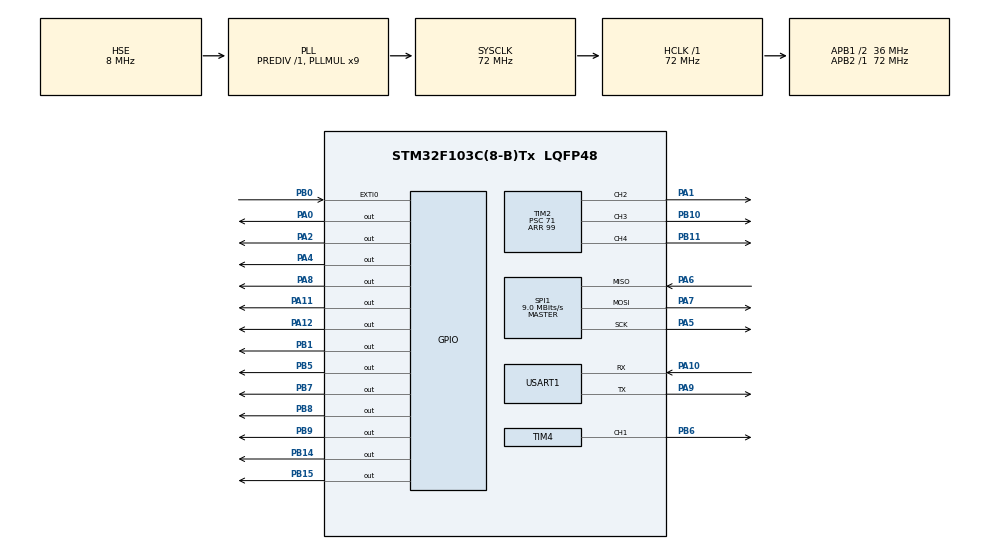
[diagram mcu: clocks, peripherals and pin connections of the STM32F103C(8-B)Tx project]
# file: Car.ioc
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Mcu.Family=STM32F1
Mcu.Name=STM32F103C(8-B)Tx
Mcu.Package=LQFP48
NVIC.EXTI0_IRQn=true\:0\:0\:false\:false\:true\:true\:true\:true
NVIC.PriorityGroup=NVIC_PRIORITYGROUP_4
PA0-WKUP.Signal=GPIO_Output
PA1.Signal=S_TIM2_CH2
PA10.Mode=Asynchronous
PA10.Signal=USART1_RX
PA11.Signal=GPIO_Output
PA12.Signal=GPIO_Output
PA13.Mode=Serial_Wire
PA13.Signal=SYS_JTMS-SWDIO
PA14.Mode=Serial_Wire
PA14.Signal=SYS_JTCK-SWCLK
PA2.Signal=GPIO_Output
PA4.PinState=GPIO_PIN_SET
PA4.Signal=GPIO_Output
PA5.Mode=Full_Duplex_Master
PA5.Signal=SPI1_SCK
PA6.Mode=Full_Duplex_Master
PA6.Signal=SPI1_MISO
PA7.Mode=Full_Duplex_Master
PA7.Signal=SPI1_MOSI
PA8.Signal=GPIO_Output
PA9.Mode=Asynchronous
PA9.Signal=USART1_TX
PB0.Signal=GPXTI0
PB1.PinState=GPIO_PIN_SET
PB1.Signal=GPIO_Output
PB10.Signal=S_TIM2_CH3
PB11.Signal=S_TIM2_CH4
PB14.Signal=GPIO_Output
PB15.Signal=GPIO_Output
PB5.Signal=GPIO_Output
PB6.Signal=S_TIM4_CH1
PB7.Signal=GPIO_Output
PB8.Signal=GPIO_Output
PB9.Signal=GPIO_Output
PC14-OSC32_IN.Mode=LSE-External-Oscillator
PC14-OSC32_IN.Signal=RCC_OSC32_IN
PC15-OSC32_OUT.Mode=LSE-External-Oscillator
PC15-OSC32_OUT.Signal=RCC_OSC32_OUT
PD0-OSC_IN.Mode=HSE-External-Oscillator
PD0-OSC_IN.Signal=RCC_OSC_IN
PD1-OSC_OUT.Mode=HSE-External-Oscillator
PD1-OSC_OUT.Signal=RCC_OSC_OUT
ProjectManager.HeapSize=0x200
ProjectManager.StackSize=0x400
ProjectManager.TargetToolchain=STM32CubeIDE
RCC.AHBFreq_Value=72000000
RCC.APB1CLKDivider=RCC_HCLK_DIV2
RCC.APB1Freq_Value=36000000
RCC.APB1TimFreq_Value=72000000
RCC.APB2Freq_Value=72000000
RCC.APB2TimFreq_Value=72000000
RCC.HCLKFreq_Value=72000000
RCC.PLLMUL=RCC_PLL_MUL9
RCC.PLLSourceVirtual=RCC_PLLSOURCE_HSE
RCC.SYSCLKFreq_VALUE=72000000
RCC.SYSCLKSource=RCC_SYSCLKSOURCE_PLLCLK
RCC.USBFreq_Value=72000000
SH.S_TIM2_CH2.0=TIM2_CH2,PWM Generation2 CH2
SH.S_TIM2_CH3.0=TIM2_CH3,PWM Generation3 CH3
SH.S_TIM2_CH4.0=TIM2_CH4,PWM Generation4 CH4
SH.S_TIM4_CH1.0=TIM4_CH1,PWM Generation1 CH1
SPI1.BaudRatePrescaler=SPI_BAUDRATEPRESCALER_8
SPI1.CalculateBaudRate=9.0 MBits/s
SPI1.Direction=SPI_DIRECTION_2LINES
SPI1.Mode=SPI_MODE_MASTER
SPI1.VirtualType=VM_MASTER
TIM2.AutoReloadPreload=TIM_AUTORELOAD_PRELOAD_ENABLE
TIM2.Channel-PWM\ Generation2\ CH2=TIM_CHANNEL_2
TIM2.Channel-PWM\ Generation3\ CH3=TIM_CHANNEL_3
TIM2.Channel-PWM\ Generation4\ CH4=TIM_CHANNEL_4
TIM2.OCMode_PWM-PWM\ Generation4\ CH4=TIM_OCMODE_PWM1
TIM2.Period=99
TIM2.Prescaler=71
TIM4.AutoReloadPreload=TIM_AUTORELOAD_PRELOAD_ENABLE
TIM4.Channel-PWM\ Generation1\ CH1=TIM_CHANNEL_1
TIM4.Period=99
TIM4.Prescaler=71
USART1.VirtualMode=VM_ASYNC
board=custom

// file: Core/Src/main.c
/* USER CODE BEGIN Header */
/**
  ******************************************************************************
  * @file           : main.c
  * @brief          : Main program body
  ******************************************************************************
  * @attention
  *
  * Copyright (c) 2025 STMicroelectronics.
  * All rights reserved.
  *
  * This software is licensed under terms that can be found in the LICENSE file
  * in the root directory of this software component.
  * If no LICENSE file comes with this software, it is provided AS-IS.
  *
  ******************************************************************************
  */
/* USER CODE END Header */
#include "main.h"

/* USER CODE BEGIN Includes */
#include "Lora.h"
/* USER CODE END Includes */

SPI_HandleTypeDef hspi1;

TIM_HandleTypeDef htim2;
TIM_HandleTypeDef htim4;

UART_HandleTypeDef huart1;

/* USER CODE BEGIN PV */
LoRa myLoRa;
uint8_t LoRa_stat = 0;
uint8_t received_data[50] = {0};
uint8_t len = 50;
volatile uint8_t lora_irq_flag = 0;
/* USER CODE END PV */

void SystemClock_Config(void);
static void MX_GPIO_Init(void);
static void MX_TIM2_Init(void);
static void MX_TIM4_Init(void);
static void MX_SPI1_Init(void);
static void MX_USART1_UART_Init(void);

/* USER CODE BEGIN 0 */

#define PWM_MAX     99

int _write(int file, char *ptr, int len)
{
    HAL_UART_Transmit(&huart1, (uint8_t*)ptr, len, HAL_MAX_DELAY);
    return len;
}

void set_motor(int16_t speed,
               TIM_HandleTypeDef *htim, uint32_t channel,
               GPIO_TypeDef *dir_port1, uint16_t dir_pin1,
               GPIO_TypeDef *dir_port2, uint16_t dir_pin2)
{
    if (speed >= 0)
    {
        HAL_GPIO_WritePin(dir_port1, dir_pin1, GPIO_PIN_RESET);
        HAL_GPIO_WritePin(dir_port2, dir_pin2, GPIO_PIN_SET);
    }
    else
    {
        speed = -speed;
        HAL_GPIO_WritePin(dir_port1, dir_pin1, GPIO_PIN_SET);
        HAL_GPIO_WritePin(dir_port2, dir_pin2, GPIO_PIN_RESET);
    }

    if (speed > PWM_MAX) speed = PWM_MAX;

    __HAL_TIM_SET_COMPARE(htim, channel, speed);
}

/* USER CODE END 0 */

int main(void)
{

  /* USER CODE BEGIN 1 */
	uint8_t lora_ok = 0;

	float roll = 0.0f;
	float pitch = 0.0f;
	int horn = 0;
  /* USER CODE END 1 */

  /* MCU Configuration--------------------------------------------------------*/

  /* Reset of all peripherals, Initializes the Flash interface and the Systick. */
  HAL_Init();

  /* Configure the system clock */
  SystemClock_Config();

  /* Initialize all configured peripherals */
  MX_GPIO_Init();
  MX_TIM2_Init();
  MX_TIM4_Init();
  MX_SPI1_Init();
  MX_USART1_UART_Init();
  /* USER CODE BEGIN 2 */
  	  	  	  	  // Start PWM channels
  HAL_TIM_PWM_Start(&htim2, TIM_CHANNEL_3);
  HAL_TIM_PWM_Start(&htim2, TIM_CHANNEL_4);
  HAL_TIM_PWM_Start(&htim2, TIM_CHANNEL_2);
  HAL_TIM_PWM_Start(&htim4, TIM_CHANNEL_1);

  	  	  	  	  	  // Direction setup (0,1 for each motor)
  HAL_GPIO_WritePin(GPIOB, GPIO_PIN_5, GPIO_PIN_RESET);
  HAL_GPIO_WritePin(GPIOB, GPIO_PIN_7, GPIO_PIN_SET);

  HAL_GPIO_WritePin(GPIOB, GPIO_PIN_14, GPIO_PIN_RESET);
  HAL_GPIO_WritePin(GPIOB, GPIO_PIN_15, GPIO_PIN_SET);

  HAL_GPIO_WritePin(GPIOB, GPIO_PIN_8, GPIO_PIN_RESET);
  HAL_GPIO_WritePin(GPIOB, GPIO_PIN_9, GPIO_PIN_SET);

  HAL_GPIO_WritePin(GPIOA, GPIO_PIN_0, GPIO_PIN_RESET);
  HAL_GPIO_WritePin(GPIOA, GPIO_PIN_2, GPIO_PIN_SET);

  myLoRa = newLoRa();

   myLoRa.CS_port         = GPIOA;
   myLoRa.CS_pin          = GPIO_PIN_4;
   myLoRa.reset_port      = GPIOB;
   myLoRa.reset_pin       = GPIO_PIN_1;
   myLoRa.DIO0_port       = GPIOB;
   myLoRa.DIO0_pin        = GPIO_PIN_0;
   myLoRa.hSPIx           = &hspi1;

   myLoRa.frequency             = 433;             // default = 433 MHz
   myLoRa.spredingFactor        = SF_7;            // default = SF_7
   myLoRa.bandWidth             = BW_125KHz;       // default = BW_125KHz
   myLoRa.crcRate               = CR_4_5;          // default = CR_4_5
   myLoRa.power                 = POWER_20db;      // default = 20db
   myLoRa.overCurrentProtection = 100;             // default = 100 mA
   myLoRa.preamble              = 8;              // default = 8;

   while (!lora_ok)
   {
       if (LoRa_init(&myLoRa) == LORA_OK)
       {
           lora_ok = 1;
           printf("LoRa initialized successfully\r\n");
       }
       else
       {
           printf("LoRa init failed, retrying...\r\n");
           HAL_Delay(500);
       }
   }
   LoRa_startReceiving(&myLoRa);
   printf("LoRa RX started\r\n");

 printf("Reseti hamar\n");
  /* USER CODE END 2 */

  /* Infinite loop */
  /* USER CODE BEGIN WHILE */
  while (1)
  {

	  if (lora_irq_flag)
	  {
	      lora_irq_flag = 0;
	      printf("Mtav lora_irq\r\n");
	      uint8_t bytes_read =
	          LoRa_receive(&myLoRa, received_data, sizeof(received_data));

	      if (bytes_read > 0)
	      {
	          received_data[bytes_read] = '\0';
	          printf("RX: %s\r\n", received_data);
	          int parsed = sscanf((char*)received_data,
	                              "R=%f,P=%f,H=%d",
	                              &roll, &pitch, &horn);

	          if (parsed != 3) {
	              printf("Invalid packet: %s\r\n", received_data);
	              LoRa_startReceiving(&myLoRa);
	              continue;
	          }
	      }

	      if (fabsf(roll)  < 5.0f) roll = 0.0f;
	      if (fabsf(pitch) < 5.0f) pitch = 0.0f;

	      LoRa_startReceiving(&myLoRa);
	  }

	  printf("roll: %.2f, pitch: %.2f, H: %d\r\n", roll, pitch, horn);

    /* USER CODE END WHILE */

    /* USER CODE BEGIN 3 */

		 int16_t m1 = 0;
		 int16_t m2 = 0;
		 int16_t m3 = 0;
		 int16_t m4 = 0;

	  if((roll < 40) && (roll > -40) && (pitch < 40) && (pitch > -40)){
		  m1 = 0;
		  m2 = 0;
		  m3 = 0;
		  m4 = 0;
	  }
	  else if((roll >= 40) && (roll > -40) && (pitch < 40) && (pitch > -40)){
		  m1 = -PWM_MAX;
		  m2 = -PWM_MAX;
		  m3 = -PWM_MAX;
		  m4 = -PWM_MAX;
	  }
	  else if((roll < 40) && (roll <= -40) && (pitch < 40) && (pitch > -40)){
		  m1 = PWM_MAX;
	  	  m2 = PWM_MAX;
	  	  m3 = PWM_MAX;
	  	  m4 = PWM_MAX;
	  }
	  else if((roll < 40) && (roll > -40) && (pitch >= 40) && (pitch > -40)){
		  m1 = -PWM_MAX;
	  	  m2 = PWM_MAX;
	  	  m3 = PWM_MAX;
	 	  m4 = -PWM_MAX;
	  }
	  else if((roll < 40) && (roll > -40) && (pitch < 40) && (pitch <= -40)){
	 	  m1 = PWM_MAX;
	  	  m2 = -PWM_MAX;
	  	  m3 = -PWM_MAX;
	  	  m4 = PWM_MAX;
	  }
	  else if((roll < 40) && (roll <= -40) && (pitch >= 40) && (pitch > -40)){
	  	  m1 = PWM_MAX - 15;
	  	  m2 = PWM_MAX;
	  	  m3 = PWM_MAX;
	  	  m4 = PWM_MAX - 15;
	  }
	  else if((roll < 40) && (roll <= -40) && (pitch < 40) && (pitch <= -40)){
	  	  m1 = PWM_MAX;
	 	  m2 = PWM_MAX - 15;
	   	  m3 = PWM_MAX - 15;
	   	  m4 = PWM_MAX;
	  }
	  else if((roll >= 40) && (roll > -40) && (pitch >= 40) && (pitch > -40)){
	 	  m1 = -PWM_MAX + 15;
		  m2 = -PWM_MAX;
	  	  m3 = -PWM_MAX;
	  	  m4 = -PWM_MAX + 15;
	  }
	  else if((roll >= 40) && (roll > -40) && (pitch < 40) && (pitch <= -40)){
		  m1 = -PWM_MAX;
	  	  m2 = -PWM_MAX + 15;
	   	  m3 = -PWM_MAX + 15;
	   	  m4 = -PWM_MAX;
	  }

	 //printf("m1: %d, m2: %d, m3: %d, m4: %d\r\n", m1, m2, m3, m4);

	  set_motor(m1, &htim2, TIM_CHANNEL_3, GPIOB, GPIO_PIN_5, GPIOB, GPIO_PIN_7);
	  set_motor(m2, &htim2, TIM_CHANNEL_4, GPIOB, GPIO_PIN_15, GPIOB, GPIO_PIN_14);
	  set_motor(m3, &htim4, TIM_CHANNEL_1, GPIOB, GPIO_PIN_8, GPIOB, GPIO_PIN_9);
	  set_motor(m4, &htim2, TIM_CHANNEL_2, GPIOA, GPIO_PIN_2, GPIOA, GPIO_PIN_0) ;

	  HAL_GPIO_WritePin(GPIOA, GPIO_PIN_8, !horn ? GPIO_PIN_SET : GPIO_PIN_RESET);

	HAL_Delay(1);

  }
  /* USER CODE END 3 */
}

void SystemClock_Config(void)
{
  RCC_OscInitTypeDef RCC_OscInitStruct = {0};
  RCC_ClkInitTypeDef RCC_ClkInitStruct = {0};

  /** Initializes the RCC Oscillators according to the specified parameters
  * in the RCC_OscInitTypeDef structure.
  */
  RCC_OscInitStruct.OscillatorType = RCC_OSCILLATORTYPE_HSE;
  RCC_OscInitStruct.HSEState = RCC_HSE_ON;
  RCC_OscInitStruct.HSEPredivValue = RCC_HSE_PREDIV_DIV1;
  RCC_OscInitStruct.HSIState = RCC_HSI_ON;
  RCC_OscInitStruct.PLL.PLLState = RCC_PLL_ON;
  RCC_OscInitStruct.PLL.PLLSource = RCC_PLLSOURCE_HSE;
  RCC_OscInitStruct.PLL.PLLMUL = RCC_PLL_MUL9;
  if (HAL_RCC_OscConfig(&RCC_OscInitStruct) != HAL_OK)
  {
    Error_Handler();
  }

  /** Initializes the CPU, AHB and APB buses clocks
  */
  RCC_ClkInitStruct.ClockType = RCC_CLOCKTYPE_HCLK|RCC_CLOCKTYPE_SYSCLK
                              |RCC_CLOCKTYPE_PCLK1|RCC_CLOCKTYPE_PCLK2;
  RCC_ClkInitStruct.SYSCLKSource = RCC_SYSCLKSOURCE_PLLCLK;
  RCC_ClkInitStruct.AHBCLKDivider = RCC_SYSCLK_DIV1;
  RCC_ClkInitStruct.APB1CLKDivider = RCC_HCLK_DIV2;
  RCC_ClkInitStruct.APB2CLKDivider = RCC_HCLK_DIV1;

  if (HAL_RCC_ClockConfig(&RCC_ClkInitStruct, FLASH_LATENCY_2) != HAL_OK)
  {
    Error_Handler();
  }
}

static void MX_SPI1_Init(void)
{

  /* SPI1 parameter configuration*/
  hspi1.Instance = SPI1;
  hspi1.Init.Mode = SPI_MODE_MASTER;
  hspi1.Init.Direction = SPI_DIRECTION_2LINES;
  hspi1.Init.DataSize = SPI_DATASIZE_8BIT;
  hspi1.Init.CLKPolarity = SPI_POLARITY_LOW;
  hspi1.Init.CLKPhase = SPI_PHASE_1EDGE;
  hspi1.Init.NSS = SPI_NSS_SOFT;
  hspi1.Init.BaudRatePrescaler = SPI_BAUDRATEPRESCALER_8;
  hspi1.Init.FirstBit = SPI_FIRSTBIT_MSB;
  hspi1.Init.TIMode = SPI_TIMODE_DISABLE;
  hspi1.Init.CRCCalculation = SPI_CRCCALCULATION_DISABLE;
  hspi1.Init.CRCPolynomial = 10;
  if (HAL_SPI_Init(&hspi1) != HAL_OK)
  {
    Error_Handler();
  }

}

static void MX_TIM2_Init(void)
{

  TIM_MasterConfigTypeDef sMasterConfig = {0};
  TIM_OC_InitTypeDef sConfigOC = {0};

  htim2.Instance = TIM2;
  htim2.Init.Prescaler = 71;
  htim2.Init.CounterMode = TIM_COUNTERMODE_UP;
  htim2.Init.Period = 99;
  htim2.Init.ClockDivision = TIM_CLOCKDIVISION_DIV1;
  htim2.Init.AutoReloadPreload = TIM_AUTORELOAD_PRELOAD_ENABLE;
  if (HAL_TIM_PWM_Init(&htim2) != HAL_OK)
  {
    Error_Handler();
  }
  sMasterConfig.MasterOutputTrigger = TIM_TRGO_RESET;
  sMasterConfig.MasterSlaveMode = TIM_MASTERSLAVEMODE_DISABLE;
  if (HAL_TIMEx_MasterConfigSynchronization(&htim2, &sMasterConfig) != HAL_OK)
  {
    Error_Handler();
  }
  sConfigOC.OCMode = TIM_OCMODE_PWM1;
  sConfigOC.Pulse = 0;
  sConfigOC.OCPolarity = TIM_OCPOLARITY_HIGH;
  sConfigOC.OCFastMode = TIM_OCFAST_DISABLE;
  if (HAL_TIM_PWM_ConfigChannel(&htim2, &sConfigOC, TIM_CHANNEL_2) != HAL_OK)
  {
    Error_Handler();
  }
  if (HAL_TIM_PWM_ConfigChannel(&htim2, &sConfigOC, TIM_CHANNEL_3) != HAL_OK)
  {
    Error_Handler();
  }
  if (HAL_TIM_PWM_ConfigChannel(&htim2, &sConfigOC, TIM_CHANNEL_4) != HAL_OK)
  {
    Error_Handler();
  }
  HAL_TIM_MspPostInit(&htim2);

}

static void MX_TIM4_Init(void)
{

  TIM_MasterConfigTypeDef sMasterConfig = {0};
  TIM_OC_InitTypeDef sConfigOC = {0};

  htim4.Instance = TIM4;
  htim4.Init.Prescaler = 71;
  htim4.Init.CounterMode = TIM_COUNTERMODE_UP;
  htim4.Init.Period = 99;
  htim4.Init.ClockDivision = TIM_CLOCKDIVISION_DIV1;
  htim4.Init.AutoReloadPreload = TIM_AUTORELOAD_PRELOAD_ENABLE;
  if (HAL_TIM_PWM_Init(&htim4) != HAL_OK)
  {
    Error_Handler();
  }
  sMasterConfig.MasterOutputTrigger = TIM_TRGO_RESET;
  sMasterConfig.MasterSlaveMode = TIM_MASTERSLAVEMODE_DISABLE;
  if (HAL_TIMEx_MasterConfigSynchronization(&htim4, &sMasterConfig) != HAL_OK)
  {
    Error_Handler();
  }
  sConfigOC.OCMode = TIM_OCMODE_PWM1;
  sConfigOC.Pulse = 0;
  sConfigOC.OCPolarity = TIM_OCPOLARITY_HIGH;
  sConfigOC.OCFastMode = TIM_OCFAST_DISABLE;
  if (HAL_TIM_PWM_ConfigChannel(&htim4, &sConfigOC, TIM_CHANNEL_1) != HAL_OK)
  {
    Error_Handler();
  }
  HAL_TIM_MspPostInit(&htim4);

}

static void MX_USART1_UART_Init(void)
{

  huart1.Instance = USART1;
  huart1.Init.BaudRate = 115200;
  huart1.Init.WordLength = UART_WORDLENGTH_8B;
  huart1.Init.StopBits = UART_STOPBITS_1;
  huart1.Init.Parity = UART_PARITY_NONE;
  huart1.Init.Mode = UART_MODE_TX_RX;
  huart1.Init.HwFlowCtl = UART_HWCONTROL_NONE;
  huart1.Init.OverSampling = UART_OVERSAMPLING_16;
  if (HAL_UART_Init(&huart1) != HAL_OK)
  {
    Error_Handler();
  }

}

static void MX_GPIO_Init(void)
{
  GPIO_InitTypeDef GPIO_InitStruct = {0};

  /* GPIO Ports Clock Enable */
  __HAL_RCC_GPIOC_CLK_ENABLE();
  __HAL_RCC_GPIOD_CLK_ENABLE();
  __HAL_RCC_GPIOA_CLK_ENABLE();
  __HAL_RCC_GPIOB_CLK_ENABLE();

  /*Configure GPIO pin Output Level */
  HAL_GPIO_WritePin(GPIOA, GPIO_PIN_0|GPIO_PIN_2|GPIO_PIN_8|GPIO_PIN_11
                          |GPIO_PIN_12, GPIO_PIN_RESET);

  /*Configure GPIO pin Output Level */
  HAL_GPIO_WritePin(GPIOA, GPIO_PIN_4, GPIO_PIN_SET);

  /*Configure GPIO pin Output Level */
  HAL_GPIO_WritePin(GPIOB, GPIO_PIN_1, GPIO_PIN_SET);

  /*Configure GPIO pin Output Level */
  HAL_GPIO_WritePin(GPIOB, GPIO_PIN_14|GPIO_PIN_15|GPIO_PIN_5|GPIO_PIN_7
                          |GPIO_PIN_8|GPIO_PIN_9, GPIO_PIN_RESET);

  /*Configure GPIO pins : PA0 PA2 PA4 PA8
                           PA11 PA12 */
  GPIO_InitStruct.Pin = GPIO_PIN_0|GPIO_PIN_2|GPIO_PIN_4|GPIO_PIN_8
                          |GPIO_PIN_11|GPIO_PIN_12;
  GPIO_InitStruct.Mode = GPIO_MODE_OUTPUT_PP;
  GPIO_InitStruct.Pull = GPIO_NOPULL;
  GPIO_InitStruct.Speed = GPIO_SPEED_FREQ_LOW;
  HAL_GPIO_Init(GPIOA, &GPIO_InitStruct);

  /*Configure GPIO pin : PB0 */
  GPIO_InitStruct.Pin = GPIO_PIN_0;
  GPIO_InitStruct.Mode = GPIO_MODE_IT_RISING;
  GPIO_InitStruct.Pull = GPIO_NOPULL;
  HAL_GPIO_Init(GPIOB, &GPIO_InitStruct);

  /*Configure GPIO pins : PB1 PB14 PB15 PB5
                           PB7 PB8 PB9 */
  GPIO_InitStruct.Pin = GPIO_PIN_1|GPIO_PIN_14|GPIO_PIN_15|GPIO_PIN_5
                          |GPIO_PIN_7|GPIO_PIN_8|GPIO_PIN_9;
  GPIO_InitStruct.Mode = GPIO_MODE_OUTPUT_PP;
  GPIO_InitStruct.Pull = GPIO_NOPULL;
  GPIO_InitStruct.Speed = GPIO_SPEED_FREQ_LOW;
  HAL_GPIO_Init(GPIOB, &GPIO_InitStruct);

  /* EXTI interrupt init*/
  HAL_NVIC_SetPriority(EXTI0_IRQn, 0, 0);
  HAL_NVIC_EnableIRQ(EXTI0_IRQn);

}

/* USER CODE BEGIN 4 */
void HAL_GPIO_EXTI_Callback(uint16_t GPIO_Pin) {

	if (GPIO_Pin == GPIO_PIN_0)
	        lora_irq_flag = 1;
}
/* USER CODE END 4 */

void Error_Handler(void)
{
  __disable_irq();
  while (1)
  {
  }
}
